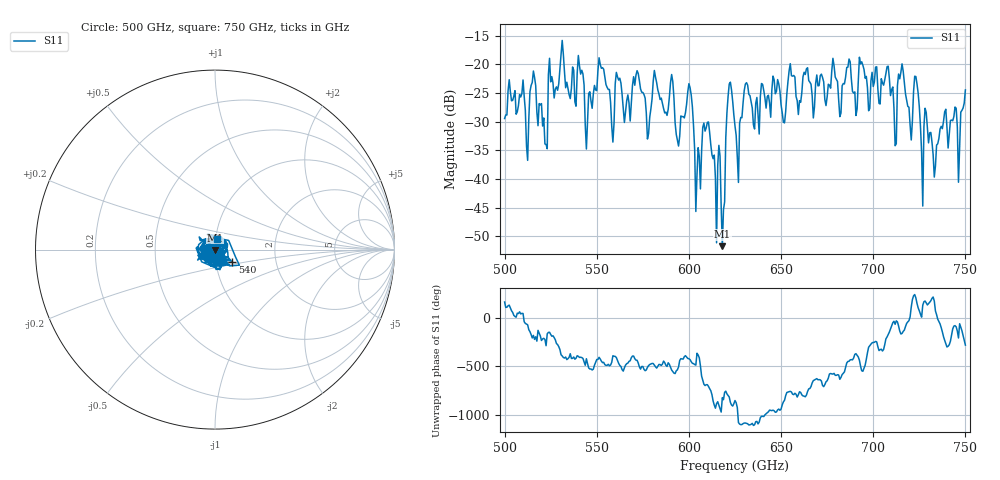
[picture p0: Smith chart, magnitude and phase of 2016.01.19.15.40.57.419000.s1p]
!Created with skrf (http://scikit-rf.org).
# GHz S RI R 50.0
!freq ReS11 ImS11
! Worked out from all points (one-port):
!   401 points, 500 GHz to 750 GHz, reference 50 ohm
!   lowest |S11| = -51.7 dB at 618.1 GHz (marker M1), VSWR 1.01, Z = 50 - j0.255 ohm
!   |S11| at or under -10 dB: start of sweep to end of sweep
!   S11 on the Smith chart (normalised r, x): 500 GHz: 0.94, +0.02; 540 GHz: 1.20, -0.17; 750 GHz: 1.02, +0.12
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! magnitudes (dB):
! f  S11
! 500 GHz  -29.5
! 512.5 GHz  -36.7
! 515.6 GHz  -21.2
! 521.9 GHz  -33.9
! 525 GHz  -23.1
! 531.2 GHz  -15.8
! 540 GHz  -18.5
! 545 GHz  -29.8
! 551.9 GHz  -20.0
! 558.1 GHz  -30.8
! 562.5 GHz  -22.4
! 578.1 GHz  -32.1
! 590.6 GHz  -21.8
! 593.8 GHz  -33.2
! 600.6 GHz  -24.1
! 605 GHz  -34.5
! 609.4 GHz  -31.1
! 618.1 GHz  -51.7
! 621.9 GHz  -23.4
! 625 GHz  -30.8
! 651.2 GHz  -30.1
! 656.2 GHz  -22.1
! 687.5 GHz  -19.6
! 718.8 GHz  -27.3
! 723.1 GHz  -22.1
! 726.2 GHz  -35.4
! 733.8 GHz  -37.7
! 750 GHz  -24.5
